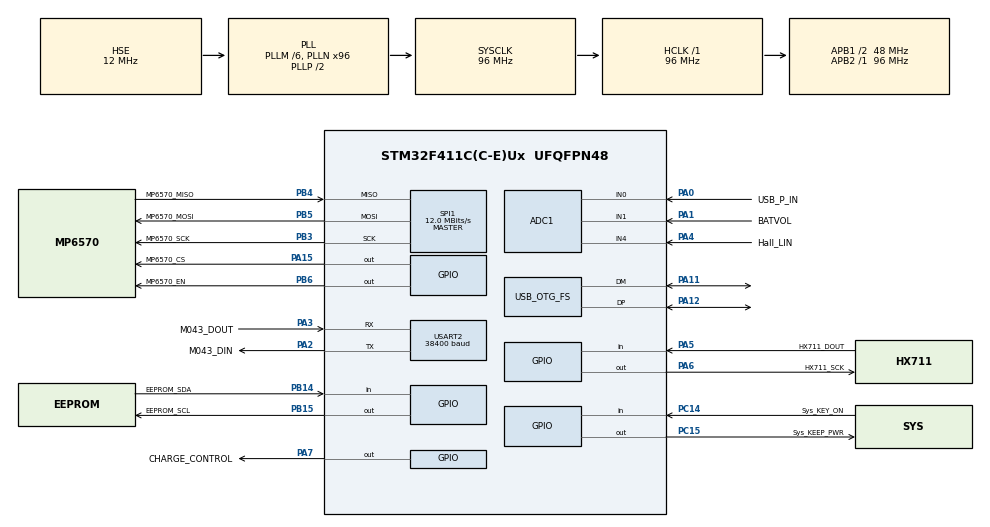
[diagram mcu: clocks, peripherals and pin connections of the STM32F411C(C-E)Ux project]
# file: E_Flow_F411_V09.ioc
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ADC1.Channel-0\#ChannelRegularConversion=ADC_CHANNEL_0
ADC1.Channel-1\#ChannelRegularConversion=ADC_CHANNEL_1
ADC1.Channel-2\#ChannelRegularConversion=ADC_CHANNEL_4
ADC1.ClockPrescaler=ADC_CLOCK_SYNC_PCLK_DIV4
ADC1.ContinuousConvMode=ENABLE
ADC1.NbrOfConversion=3
ADC1.NbrOfConversionFlag=1
ADC1.Rank-0\#ChannelRegularConversion=1
ADC1.Rank-1\#ChannelRegularConversion=2
ADC1.Rank-2\#ChannelRegularConversion=3
ADC1.SamplingTime-0\#ChannelRegularConversion=ADC_SAMPLETIME_480CYCLES
ADC1.SamplingTime-1\#ChannelRegularConversion=ADC_SAMPLETIME_480CYCLES
ADC1.SamplingTime-2\#ChannelRegularConversion=ADC_SAMPLETIME_480CYCLES
ADC1.ScanConvMode=ENABLE
ADC1.master=1
Dma.ADC1.0.Direction=DMA_PERIPH_TO_MEMORY
Dma.ADC1.0.FIFOMode=DMA_FIFOMODE_DISABLE
Dma.ADC1.0.Instance=DMA2_Stream0
Dma.ADC1.0.MemDataAlignment=DMA_MDATAALIGN_HALFWORD
Dma.ADC1.0.MemInc=DMA_MINC_ENABLE
Dma.ADC1.0.Mode=DMA_CIRCULAR
Dma.ADC1.0.PeriphDataAlignment=DMA_PDATAALIGN_HALFWORD
Dma.ADC1.0.PeriphInc=DMA_PINC_DISABLE
Dma.ADC1.0.Priority=DMA_PRIORITY_LOW
Dma.Request0=ADC1
Dma.Request1=USART2_TX
Dma.Request2=USART2_RX
Dma.USART2_RX.2.Direction=DMA_PERIPH_TO_MEMORY
Dma.USART2_RX.2.FIFOMode=DMA_FIFOMODE_DISABLE
Dma.USART2_RX.2.Instance=DMA1_Stream5
Dma.USART2_RX.2.MemDataAlignment=DMA_MDATAALIGN_BYTE
Dma.USART2_RX.2.MemInc=DMA_MINC_ENABLE
Dma.USART2_RX.2.Mode=DMA_NORMAL
Dma.USART2_RX.2.PeriphDataAlignment=DMA_PDATAALIGN_BYTE
Dma.USART2_RX.2.PeriphInc=DMA_PINC_DISABLE
Dma.USART2_RX.2.Priority=DMA_PRIORITY_MEDIUM
Dma.USART2_TX.1.Direction=DMA_MEMORY_TO_PERIPH
Dma.USART2_TX.1.FIFOMode=DMA_FIFOMODE_DISABLE
Dma.USART2_TX.1.Instance=DMA1_Stream6
Dma.USART2_TX.1.MemDataAlignment=DMA_MDATAALIGN_BYTE
Dma.USART2_TX.1.MemInc=DMA_MINC_ENABLE
Dma.USART2_TX.1.Mode=DMA_NORMAL
Dma.USART2_TX.1.PeriphDataAlignment=DMA_PDATAALIGN_BYTE
Dma.USART2_TX.1.PeriphInc=DMA_PINC_DISABLE
Dma.USART2_TX.1.Priority=DMA_PRIORITY_LOW
FREERTOS.MEMORY_ALLOCATION=0
FREERTOS.Tasks01=defaultTask,0,128,StartDefaultTask,Default,NULL,Dynamic,NULL,NULL
Mcu.Family=STM32F4
Mcu.Name=STM32F411C(C-E)Ux
Mcu.Package=UFQFPN48
NVIC.DMA1_Stream5_IRQn=true\:5\:0\:false\:false\:true\:true\:false\:true\:true
NVIC.DMA1_Stream6_IRQn=true\:5\:0\:false\:false\:true\:true\:false\:true\:true
NVIC.DMA2_Stream0_IRQn=true\:5\:0\:false\:false\:true\:true\:false\:true\:true
NVIC.OTG_FS_IRQn=true\:5\:0\:false\:false\:true\:true\:true\:true\:true
NVIC.PriorityGroup=NVIC_PRIORITYGROUP_4
NVIC.TIM1_UP_TIM10_IRQn=true\:0\:0\:true\:false\:true\:false\:false\:true\:true
NVIC.TIM2_IRQn=true\:5\:0\:false\:false\:true\:true\:true\:true\:true
NVIC.TimeBase=TIM1_UP_TIM10_IRQn
NVIC.TimeBaseIP=TIM1
NVIC.USART2_IRQn=true\:5\:0\:false\:false\:true\:true\:true\:true\:true
NVIC.WWDG_IRQn=true\:5\:0\:false\:false\:true\:true\:true\:true\:true
PA0-WKUP.GPIO_Label=USB_P_IN
PA0-WKUP.Signal=ADCx_IN0
PA1.GPIO_Label=BATVOL
PA1.Signal=ADCx_IN1
PA11.Mode=Device_Only
PA11.Signal=USB_OTG_FS_DM
PA12.Mode=Device_Only
PA12.Signal=USB_OTG_FS_DP
PA13.Mode=Serial_Wire
PA13.Signal=SYS_JTMS-SWDIO
PA14.Mode=Serial_Wire
PA14.Signal=SYS_JTCK-SWCLK
PA15.GPIO_Label=MP6570_CS
PA15.Signal=GPIO_Output
PA2.GPIO_Label=M043_DIN
PA2.Mode=Asynchronous
PA2.Signal=USART2_TX
PA3.GPIO_Label=M043_DOUT
PA3.Mode=Asynchronous
PA3.Signal=USART2_RX
PA4.GPIO_Label=Hall_LIN
PA4.Signal=ADCx_IN4
PA5.GPIO_Label=HX711_DOUT
PA5.Signal=GPIO_Input
PA6.GPIO_Label=HX711_SCK
PA6.Signal=GPIO_Output
PA7.GPIO_Label=CHARGE_CONTROL
PA7.GPIO_ModeDefaultOutputPP=GPIO_MODE_OUTPUT_OD
PA7.GPIO_PuPd=GPIO_NOPULL
PA7.PinState=GPIO_PIN_SET
PA7.Signal=GPIO_Output
PB14.GPIO_Label=EEPROM_SDA
PB14.Signal=GPIO_Input
PB15.GPIO_Label=EEPROM_SCL
PB15.Signal=GPIO_Output
PB3.GPIO_Label=MP6570_SCK
PB3.Mode=Full_Duplex_Master
PB3.Signal=SPI1_SCK
PB4.GPIO_Label=MP6570_MISO
PB4.Mode=Full_Duplex_Master
PB4.Signal=SPI1_MISO
PB5.GPIO_Label=MP6570_MOSI
PB5.Mode=Full_Duplex_Master
PB5.Signal=SPI1_MOSI
PB6.GPIO_Label=MP6570_EN
PB6.PinState=GPIO_PIN_SET
PB6.Signal=GPIO_Output
PC14-OSC32_IN.GPIO_Label=Sys_KEY_ON
PC14-OSC32_IN.Signal=GPIO_Input
PC15-OSC32_OUT.GPIO_Label=Sys_KEEP_PWR
PC15-OSC32_OUT.PinState=GPIO_PIN_SET
PC15-OSC32_OUT.Signal=GPIO_Output
PH0\ -\ OSC_IN.Mode=HSE-External-Oscillator
PH0\ -\ OSC_IN.Signal=RCC_OSC_IN
PH1\ -\ OSC_OUT.Mode=HSE-External-Oscillator
PH1\ -\ OSC_OUT.Signal=RCC_OSC_OUT
ProjectManager.HeapSize=0x4000
ProjectManager.StackSize=0x4000
ProjectManager.TargetToolchain=MDK-ARM V5.27
RCC.48MHZClocksFreq_Value=48000000
RCC.AHBFreq_Value=96000000
RCC.APB1CLKDivider=RCC_HCLK_DIV2
RCC.APB1Freq_Value=48000000
RCC.APB1TimFreq_Value=96000000
RCC.APB2Freq_Value=96000000
RCC.APB2TimFreq_Value=96000000
RCC.CortexFreq_Value=96000000
RCC.HCLKFreq_Value=96000000
RCC.HSE_VALUE=12000000
RCC.HSI_VALUE=16000000
RCC.LSE_VALUE=32768
RCC.PLLM=6
RCC.PLLN=96
RCC.SYSCLKFreq_VALUE=96000000
RCC.SYSCLKSource=RCC_SYSCLKSOURCE_PLLCLK
RCC.VCOOutputFreq_Value=192000000
SH.ADCx_IN0.0=ADC1_IN0,IN0
SH.ADCx_IN1.0=ADC1_IN1,IN1
SH.ADCx_IN4.0=ADC1_IN4,IN4
SPI1.BaudRatePrescaler=SPI_BAUDRATEPRESCALER_8
SPI1.CLKPhase=SPI_PHASE_2EDGE
SPI1.CLKPolarity=SPI_POLARITY_HIGH
SPI1.CalculateBaudRate=12.0 MBits/s
SPI1.Direction=SPI_DIRECTION_2LINES
SPI1.Mode=SPI_MODE_MASTER
SPI1.VirtualType=VM_MASTER
TIM2.Period=100
TIM2.Prescaler=95
USART2.BaudRate=38400
USART2.VirtualMode=VM_ASYNC
USB_DEVICE.CLASS_NAME_FS=CDC
USB_DEVICE.VirtualMode=Cdc
USB_DEVICE.VirtualModeFS=Cdc_FS
USB_OTG_FS.VirtualMode=Device_Only
VP_FREERTOS_VS_CMSIS_V1.Mode=CMSIS_V1
VP_SYS_VS_tim1.Mode=TIM1
VP_TIM2_VS_ClockSourceINT.Mode=Internal
VP_USB_DEVICE_VS_USB_DEVICE_CDC_FS.Mode=CDC_FS
VP_WWDG_VS_WWDG.Mode=WWDG_Activate
WWDG.Counter=127
WWDG.EWIMode=WWDG_EWI_ENABLE
WWDG.Prescaler=WWDG_PRESCALER_8
WWDG.Window=127
board=custom

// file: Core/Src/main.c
/* USER CODE BEGIN Header */
/**
  ******************************************************************************
  * @file           : main.c
  * @brief          : Main program body
  ******************************************************************************
  * @attention
  *
  * Copyright (c) 2022 STMicroelectronics.
  * All rights reserved.
  *
  * This software is licensed under terms that can be found in the LICENSE file
  * in the root directory of this software component.
  * If no LICENSE file comes with this software, it is provided AS-IS.
  *
  ******************************************************************************
  */
/* USER CODE END Header */
#include "main.h"
#include "cmsis_os.h"
#include "adc.h"
#include "dma.h"
#include "spi.h"
#include "tim.h"
#include "usart.h"
#include "usb_device.h"
#include "wwdg.h"
#include "gpio.h"

/* USER CODE BEGIN Includes */
#include "app_main.h"
/* USER CODE END Includes */

void SystemClock_Config(void);
void MX_FREERTOS_Init(void);

int main(void)
{
  /* USER CODE BEGIN 1 */
	Before_HAL_Init();
  /* USER CODE END 1 */

  /* MCU Configuration--------------------------------------------------------*/

  /* Reset of all peripherals, Initializes the Flash interface and the Systick. */
  HAL_Init();

  /* Configure the system clock */
  SystemClock_Config();

  /* Initialize all configured peripherals */
  MX_GPIO_Init();
  MX_DMA_Init();
  MX_ADC1_Init();
  MX_SPI1_Init();
  MX_TIM2_Init();
  MX_USART2_UART_Init();
//  MX_WWDG_Init();
  /* USER CODE BEGIN 2 */
	App_Init();
  /* USER CODE END 2 */

  /* Call init function for freertos objects (in freertos.c) */
  MX_FREERTOS_Init();

  /* Start scheduler */
  osKernelStart();

  /* We should never get here as control is now taken by the scheduler */
  /* Infinite loop */
  while (1)
  {

  }
}

void SystemClock_Config(void)
{
  RCC_OscInitTypeDef RCC_OscInitStruct = {0};
  RCC_ClkInitTypeDef RCC_ClkInitStruct = {0};

  /** Configure the main internal regulator output voltage
  */
  __HAL_RCC_PWR_CLK_ENABLE();
  __HAL_PWR_VOLTAGESCALING_CONFIG(PWR_REGULATOR_VOLTAGE_SCALE1);

  /** Initializes the RCC Oscillators according to the specified parameters
  * in the RCC_OscInitTypeDef structure.
  */
  RCC_OscInitStruct.OscillatorType = RCC_OSCILLATORTYPE_HSE;
  RCC_OscInitStruct.HSEState = RCC_HSE_ON;
  RCC_OscInitStruct.PLL.PLLState = RCC_PLL_ON;
  RCC_OscInitStruct.PLL.PLLSource = RCC_PLLSOURCE_HSE;
  RCC_OscInitStruct.PLL.PLLM = 6;
  RCC_OscInitStruct.PLL.PLLN = 96;
  RCC_OscInitStruct.PLL.PLLP = RCC_PLLP_DIV2;
  RCC_OscInitStruct.PLL.PLLQ = 4;
  if (HAL_RCC_OscConfig(&RCC_OscInitStruct) != HAL_OK)
  {
    Error_Handler();
  }

  /** Initializes the CPU, AHB and APB buses clocks
  */
  RCC_ClkInitStruct.ClockType = RCC_CLOCKTYPE_HCLK|RCC_CLOCKTYPE_SYSCLK
                              |RCC_CLOCKTYPE_PCLK1|RCC_CLOCKTYPE_PCLK2;
  RCC_ClkInitStruct.SYSCLKSource = RCC_SYSCLKSOURCE_PLLCLK;
  RCC_ClkInitStruct.AHBCLKDivider = RCC_SYSCLK_DIV1;
  RCC_ClkInitStruct.APB1CLKDivider = RCC_HCLK_DIV2;
  RCC_ClkInitStruct.APB2CLKDivider = RCC_HCLK_DIV1;

  if (HAL_RCC_ClockConfig(&RCC_ClkInitStruct, FLASH_LATENCY_3) != HAL_OK)
  {
    Error_Handler();
  }
}

void HAL_TIM_PeriodElapsedCallback(TIM_HandleTypeDef *htim)
{
  if (htim->Instance == TIM1) {
    HAL_IncTick();
  }
}

void Error_Handler(void)
{
  __disable_irq();
  while (1)
  {
  }
}

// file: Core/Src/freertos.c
/* USER CODE BEGIN Header */
/**
  ******************************************************************************
  * File Name          : freertos.c
  * Description        : Code for freertos applications
  ******************************************************************************
  * @attention
  *
  * Copyright (c) 2022 STMicroelectronics.
  * All rights reserved.
  *
  * This software is licensed under terms that can be found in the LICENSE file
  * in the root directory of this software component.
  * If no LICENSE file comes with this software, it is provided AS-IS.
  *
  ******************************************************************************
  */
/* USER CODE END Header */

#include "FreeRTOS.h"
#include "task.h"
#include "main.h"
#include "cmsis_os.h"

/* USER CODE BEGIN Includes */
#include "app_main.h"
/* USER CODE END Includes */

/* USER CODE BEGIN Variables */
osThreadId GetLcdTaskHandle;
osThreadId ModeHandle;
osThreadId SettingHandle;
osThreadId FactoryCalibHandle;
osThreadId FactoryAgingHandle;
osThreadId MotorHandle;
/* USER CODE END Variables */
osThreadId defaultTaskHandle;

/* USER CODE BEGIN FunctionPrototypes */
void StartGetLcdTask(void const * argument);
void StartMotorTask(void const * argument);
void StartSettingTask(void const * argument);
void StartFactoryCalibTask(void const * argument);
void StartFactoryAgingTask(void const * argument);
void StartModeTask(void const * argument);
/* USER CODE END FunctionPrototypes */

void StartDefaultTask(void const * argument);

extern void MX_USB_DEVICE_Init(void);
void MX_FREERTOS_Init(void); /* (MISRA C 2004 rule 8.1) */

void MX_FREERTOS_Init(void) {

  /* Create the thread(s) */
  /* definition and creation of defaultTask */
  osThreadDef(defaultTask, StartDefaultTask, osPriorityNormal, 0, 128);
  defaultTaskHandle = osThreadCreate(osThread(defaultTask), NULL);

  /* USER CODE BEGIN RTOS_THREADS */
  /* add threads, ... */
	osThreadDef(GetLcd, StartGetLcdTask, osPriorityHigh, 0, 512);
	GetLcdTaskHandle = osThreadCreate(osThread(GetLcd), NULL);					/*	1. 获取HMI指令	*/

	osThreadDef(Mode, StartModeTask, osPriorityAboveNormal, 0, 1024);
	ModeHandle  = osThreadCreate(osThread(Mode), NULL);							/*	2. 麻醉界面	*/

	osThreadDef(Settings, StartSettingTask, osPriorityNormal, 0, 256);
	SettingHandle  = osThreadCreate(osThread(Settings), NULL);					/*	3. 设置界面	*/

	osThreadDef(FactoryCalib, StartFactoryCalibTask, osPriorityNormal, 0, 256);
	FactoryCalibHandle  = osThreadCreate(osThread(FactoryCalib), NULL);			/*	4. 校正界面	*/

	osThreadDef(FactoryAging, StartFactoryAgingTask, osPriorityNormal, 0, 384);
	FactoryAgingHandle  = osThreadCreate(osThread(FactoryAging), NULL);			/*	5. 老化界面	*/

	osThreadDef(MotorController, StartMotorTask, osPriorityAboveNormal, 0, 256);
	MotorHandle = osThreadCreate(osThread(MotorController), NULL);				/*	6. 电机控制	*/
  /* USER CODE END RTOS_THREADS */

}

void StartDefaultTask(void const * argument)
{
  /* init code for USB_DEVICE */
//  MX_USB_DEVICE_Init();
  /* USER CODE BEGIN StartDefaultTask */
  /* Infinite loop */
	for(;;){
		static uint8_t cnt = 0;
		Check_Alarm_Event();
		PWR_On_Off_Detect2();				/*	开关机及充电检测	*/
		osDelay(150);
		if(cnt == 21){
			Get_VGUS_Page();
			cnt = 0;
		}else
			cnt ++;
	}
  /* USER CODE END StartDefaultTask */
}

/* USER CODE BEGIN Application */
/*	Task:  获取屏幕指令		*/
void StartGetLcdTask(void const * argument)
{
	for(;;){
		Analysis_Lcd_Cmd();					/*	分析接收指令	*/
		Check_Senfbuf_And_Send_Buf();		/*	检查发送缓冲区是否有指令等待发送	*/
		osDelay(50);
	}
}

/*	麻醉	*/
void StartModeTask(void const * argument)
{
	for(;;){
		Page_Mode2();
		osDelay(100);
	}
}

/*	设置	*/
void StartSettingTask(void const * argument)
{
	for(;;){
		Page_Setting();
		osDelay(100);
	}
}

/*	校正	*/
void StartFactoryCalibTask(void const * argument)
{
	for(;;){
		PAGE_Calibration();
		osDelay(100);
	}
}
/*	老化	*/
void StartFactoryAgingTask(void const * argument)
{
	for(;;){
		Page_Aging();
		osDelay(100);
	}
}

/*	电机控制		*/
void StartMotorTask(void const * argument)
{
	for(;;){
		Motor_Controller();
		osDelay(100);
	}
}
/* USER CODE END Application */
